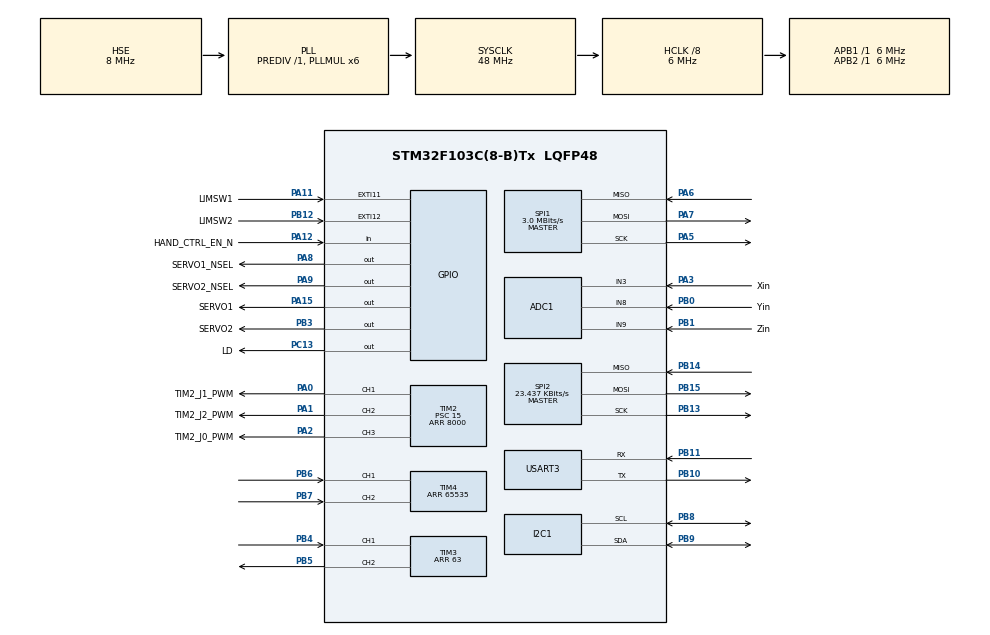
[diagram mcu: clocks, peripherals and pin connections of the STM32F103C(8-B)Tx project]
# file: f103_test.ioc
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Mcu.Family=STM32F1
NVIC.USART3_IRQn=true\:0\:0\:false\:false\:true\:true\:true
NVIC.ADC1_2_IRQn=true\:0\:0\:false\:false\:true\:true\:true
PA6.Mode=Full_Duplex_Master
Dma.ADC1.1.MemDataAlignment=DMA_MDATAALIGN_HALFWORD
NVIC.I2C1_EV_IRQn=true\:0\:0\:false\:false\:true\:true\:true
SPI1.VirtualType=VM_MASTER
SPI2.VirtualType=VM_MASTER
PB10.Mode=Asynchronous
ADC1.ContinuousConvMode=ENABLE
ADC1.SamplingTime-6\#ChannelRegularConversion=ADC_SAMPLETIME_239CYCLES_5
TIM4.EncoderMode=TIM_ENCODERMODE_TI12
TIM3.Slave_TriggerPolarity=TIM_TRIGGERPOLARITY_FALLING
PB0.GPIO_Label=Yin
PA11.GPIO_PuPd=GPIO_PULLUP
TIM2.Channel-PWM\ Generation2\ CH2=TIM_CHANNEL_2
PB11.Signal=USART3_RX
PB13.Signal=SPI2_SCK
PB15.Signal=SPI2_MOSI
RCC.SYSCLKSource=RCC_SYSCLKSOURCE_PLLCLK
ProjectManager.StackSize=0x400
PD1-OSC_OUT.Signal=RCC_OSC_OUT
PA15.GPIO_Label=SERVO1
PA12.Signal=GPIO_Input
ADC1.Channel-5\#ChannelRegularConversion=ADC_CHANNEL_8
SH.SharedAnalog_PA3.0=GPIO_Analog
Dma.ADC1.1.Instance=DMA1_Channel1
SPI1.Direction=SPI_DIRECTION_2LINES
RCC.HCLKFreq_Value=6000000
SH.SharedAnalog_PA3.1=ADC1_IN3,IN3
RCC.APB2TimFreq_Value=6000000
TIM3.Period=63
PB6.Signal=S_TIM4_CH1
Dma.ADC1.1.PeriphDataAlignment=DMA_PDATAALIGN_HALFWORD
SPI1.CalculateBaudRate=3.0 MBits/s
VP_TIM3_VS_ControllerModeClock.Mode=Clock Mode
RCC.AHBFreq_Value=6000000
SPI2.BaudRatePrescaler=SPI_BAUDRATEPRESCALER_256
NVIC.EXTI15_10_IRQn=true\:0\:0\:false\:false\:true\:true\:true
ADC1.Channel-0\#ChannelRegularConversion=ADC_CHANNEL_3
RCC.PLLMUL=RCC_PLL_MUL6
PB12.GPIO_Label=LIMSW2
ADC1.Channel-6\#ChannelRegularConversion=ADC_CHANNEL_9
PC14-OSC32_IN.Mode=LSE-External-Oscillator
PA14.Mode=Serial_Wire
PB14.Mode=Full_Duplex_Master
Dma.MEMTOMEM.0.Instance=DMA1_Channel2
PB1.GPIO_Label=Zin
NVIC.TIM2_IRQn=true\:0\:0\:false\:false\:true\:true\:true
Dma.ADC1.1.Priority=DMA_PRIORITY_LOW
SPI2.CalculateBaudRate=23.437 KBits/s
SH.S_TIM4_CH2.0=TIM4_CH2,Encoder_Interface
PB7.Signal=S_TIM4_CH2
Dma.ADC1.1.Mode=DMA_CIRCULAR
PA8.Signal=GPIO_Output
NVIC.SPI2_IRQn=true\:0\:0\:false\:false\:true\:true\:true
TIM2.Channel-PWM\ Generation1\ CH1=TIM_CHANNEL_1
SH.SharedAnalog_PB0.0=GPIO_Analog
SH.S_TIM3_CH1.0=TIM3_CH1,TriggerSource_TI1FP1
TIM4.Period=65535
NVIC.I2C1_ER_IRQn=true\:0\:0\:false\:false\:true\:true\:true
ADC1.SamplingTime-0\#ChannelRegularConversion=ADC_SAMPLETIME_239CYCLES_5
SH.SharedAnalog_PB0.1=ADC1_IN8,IN8
Mcu.Package=LQFP48
PB9.Signal=I2C1_SDA
TIM2.Prescaler=15
PB1.Signal=SharedAnalog_PB1
PA6.Signal=SPI1_MISO
SPI2.Mode=SPI_MODE_MASTER
Dma.ADC1.1.Direction=DMA_PERIPH_TO_MEMORY
Dma.MEMTOMEM.0.PeriphInc=DMA_PINC_ENABLE
PA2.GPIO_Label=TIM2_J0_PWM
Dma.ADC1.1.MemInc=DMA_MINC_ENABLE
PA15.Signal=GPIO_Output
TIM4.IC1Filter=8
SH.S_TIM4_CH1.0=TIM4_CH1,Encoder_Interface
Dma.Request1=ADC1
RCC.APB1TimFreq_Value=6000000
SPI2.Direction=SPI_DIRECTION_2LINES
PB13.Mode=Full_Duplex_Master
PA12.GPIO_PuPd=GPIO_PULLDOWN
ADC1.Rank-6\#ChannelRegularConversion=3
Dma.Request0=MEMTOMEM
PB4.Signal=S_TIM3_CH1
PA3.Signal=SharedAnalog_PA3
PA5.Mode=Full_Duplex_Master
PB3.GPIO_Label=SERVO2
RCC.PLLSourceVirtual=RCC_PLLSOURCE_HSE
PC15-OSC32_OUT.Mode=LSE-External-Oscillator
Dma.MEMTOMEM.0.MemDataAlignment=DMA_MDATAALIGN_BYTE
ADC1.Rank-0\#ChannelRegularConversion=1
PA7.Mode=Full_Duplex_Master
PD1-OSC_OUT.Mode=HSE-External-Oscillator
Dma.MEMTOMEM.0.Priority=DMA_PRIORITY_LOW
PA9.GPIO_Label=SERVO2_NSEL
ADC1.DiscontinuousConvMode=DISABLE
PC13-TAMPER-RTC.Signal=GPIO_Output
PA11.GPIO_Label=LIMSW1
TIM4.IC2Filter=8
PD0-OSC_IN.Signal=RCC_OSC_IN
PC14-OSC32_IN.Signal=RCC_OSC32_IN
PA12.GPIO_Label=HAND_CTRL_EN_N
PA0-WKUP.GPIO_Label=TIM2_J1_PWM
PA0-WKUP.Signal=S_TIM2_CH1_ETR
RCC.ADCPresc=RCC_ADCPCLK2_DIV8
PA13.Signal=SYS_JTMS-SWDIO
SH.S_TIM2_CH2.0=TIM2_CH2,PWM Generation2 CH2
PA8.GPIO_Label=SERVO1_NSEL
PB11.Mode=Asynchronous
NVIC.DMA1_Channel2_IRQn=true\:0\:0\:false\:false\:true\:true\:true
ProjectManager.TargetToolchain=SW4STM32
I2C1.I2C_Mode=I2C_Fast
PB9.Mode=I2C
PA9.Signal=GPIO_Output
RCC.USBFreq_Value=48000000
PC15-OSC32_OUT.Signal=RCC_OSC32_OUT
PA1.Signal=S_TIM2_CH2
PD0-OSC_IN.Mode=HSE-External-Oscillator
PB10.Signal=USART3_TX
TIM4.IC2Polarity=TIM_ICPOLARITY_FALLING
PB14.Signal=SPI2_MISO
PA5.Signal=SPI1_SCK
SH.S_TIM3_CH2.0=TIM3_CH2,PWM Generation2 CH2
SH.SharedAnalog_PB1.0=GPIO_Analog
SH.SharedAnalog_PB1.1=ADC1_IN9,IN9
board=custom
PC13-TAMPER-RTC.GPIO_Label=LD
PB15.Mode=Full_Duplex_Master
ADC1.EnableAnalogWatchDog=false
RCC.APB2Freq_Value=6000000
SH.S_TIM2_CH3.0=TIM2_CH3,PWM Generation3 CH3
SPI1.Mode=SPI_MODE_MASTER
PA1.GPIO_Label=TIM2_J2_PWM
TIM2.Channel-PWM\ Generation3\ CH3=TIM_CHANNEL_3
RCC.AHBCLKDivider=RCC_SYSCLK_DIV8
Dma.ADC1.1.PeriphInc=DMA_PINC_DISABLE
TIM2.Period=8000
ADC1.NbrOfConversion=3
PA13.Mode=Serial_Wire
Mcu.Name=STM32F103C(8-B)Tx
PA2.Signal=S_TIM2_CH3
Dma.MEMTOMEM.0.PeriphDataAlignment=DMA_PDATAALIGN_BYTE
PB3.Signal=GPIO_Output
RCC.SYSCLKFreq_VALUE=48000000
PB5.Signal=S_TIM3_CH2
ADC1.master=1
Dma.MEMTOMEM.0.Mode=DMA_NORMAL
Dma.MEMTOMEM.0.MemInc=DMA_MINC_ENABLE
USART3.VirtualMode=VM_ASYNC
PA11.Signal=GPXTI11
SH.S_TIM2_CH1_ETR.0=TIM2_CH1,PWM Generation1 CH1
PA14.Signal=SYS_JTCK-SWCLK
ProjectManager.HeapSize=0x200
ADC1.SamplingTime-5\#ChannelRegularConversion=ADC_SAMPLETIME_239CYCLES_5
NVIC.PriorityGroup=NVIC_PRIORITYGROUP_4
ADC1.NbrOfConversionFlag=1
TIM3.Channel-PWM\ Generation2\ CH2=TIM_CHANNEL_2
PB8.Mode=I2C
PB8.Signal=I2C1_SCL
Dma.MEMTOMEM.0.Direction=DMA_MEMORY_TO_MEMORY
SPI2.DataSize=SPI_DATASIZE_16BIT
NVIC.DMA1_Channel1_IRQn=true\:0\:0\:false\:false\:true\:true\:true
PB12.GPIO_PuPd=GPIO_PULLUP
PA11.GPIO_ModeDefaultEXTI=GPIO_MODE_IT_FALLING
RCC.APB1Freq_Value=6000000
PB0.Signal=SharedAnalog_PB0
ADC1.Rank-5\#ChannelRegularConversion=2
PB12.Signal=GPXTI12
PA3.GPIO_Label=Xin
PA7.Signal=SPI1_MOSI

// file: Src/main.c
/* USER CODE BEGIN Header */
/**
  ******************************************************************************
  * @file           : main.c
  * @brief          : Main program body
  ******************************************************************************
  * @attention
  *
  * <h2><center>&copy; Copyright (c) 2020 STMicroelectronics.
  * All rights reserved.</center></h2>
  *
  * This software component is licensed by ST under BSD 3-Clause license,
  * the "License"; You may not use this file except in compliance with the
  * License. You may obtain a copy of the License at:
  *                        opensource.org/licenses/BSD-3-Clause
  *
  ******************************************************************************
  */
/* USER CODE END Header */

#include "main.h"
#include "adc.h"
#include "dma.h"
#include "i2c.h"
#include "spi.h"
#include "tim.h"
#include "usart.h"
#include "gpio.h"

/* USER CODE BEGIN Includes */
#include "kin.h"
#include "stm32f1xx_it.h"
#include "traj.h"
#include "consts.h"
#include "math_util.h"
#include "as1130.h"
#include "as1130_pat.h"
#include "imath.h"
#include "hand_ctrl.h"
#include <math.h>
#include <string.h>

/* USER CODE END Includes */

/* USER CODE BEGIN PV */
volatile global_state_t __STATE = GLOBAL_RESET;

typedef struct hand_ctrl_cfg_s {
	int16_t rng[2];
	uint16_t lims[2];
	int8_t sgn;
} hand_ctrl_cfg_t;
volatile uint16_t hand_ctrl_buf[NUM_HAND_CTRL_BUF * NUM_HAND_CTRL_AX] = { 0 };
uint16_t hand_ctrl_buf_2[NUM_HAND_CTRL_BUF * NUM_HAND_CTRL_AX] = { 0 };
const hand_ctrl_cfg_t HAND_CTRL_RNGS[NUM_HAND_CTRL_AX] = {
//	{ .rng = { 800, 4600 }, .lims = { 1200, 4096 }, .sgn = 1 },
//	{ .rng = { 0, 3198 }, .lims = { 0, 1600 }, .sgn = -1 },
//	{ .rng = { -500, 4600 }, .lims = { 509, 3600 }, .sgn = 1 },
		{ .rng = { -1000, 5096 }, .lims = { 0, 4096 }, .sgn = 1 },
		{ .rng = { 0, 3198 }, .lims = { 0, 1600 }, .sgn = -1 },
		{ .rng = { -500, 5600 }, .lims = { 0, 4096 }, .sgn = 1 },
};
extern const int16_t HAND_CTRL_LUT[8][16][16][2][3];
// map the ADC via channel order to XYZ

//volatile uint8_t adc_ch = 0, adc_buf_idx = 0;
int16_t pos_dbl_buf[2][NUM_POS_ELE] = { 0 };
volatile int16_t pos[NUM_POS_ELE] = { 0 };
volatile uint8_t _buf_fresh = 0, _con_fresh = 0;
volatile uint16_t tick_fin_buf = 0, tick_fin = 0, tick_start_buf = 0, tick_cur = 1; // start with consumer hungry
int32_t A[4] = { 0, A1, A2, A3 };

extern volatile uint8_t mcp1130_ch;
extern volatile uint16_t mcp1130_mosi;
extern volatile uint16_t I_safety_buf, ERROR_safety_buf;

extern int32_t D_COEF[NUM_HW_D_COEF];
extern DMA_HandleTypeDef hdma_adc1;
extern UART_HandleTypeDef huart3;

const joint_phys_t JOINT_PHYS[3] = {
		{ T0_HW, SMAX_HW, I_HW },
		{ T0_HS, SMAX_HS, I_HS },
		{ T0_DS, SMAX_DS, I_DS },
};
const uint16_t MIDs[3] = { CCR_MID_HW, CCR_MID_HS, CCR_MID_DS };
const uint16_t RNGs[3] = { RNG_HW / 2, RNG_HS / 2, RNG_DS / 2 };
const uint16_t PER_RADS[3] = { CCR_PER_RAD_HW, CCR_PER_RAD_HS, CCR_PER_RAD_DS };
int32_t vf_prev[3] = { 0 }; // previous final velocity
int32_t t_prev[3] = { 0 }; // previous target angles (after inv kin)
const int8_t RHR_SGNS[3] = { SGN_HW, SGN_HS, SGN_DS };

// bitmaps
extern const uint8_t bump[NBUMP][NBUMP];
/* USER CODE END PV */

void SystemClock_Config(void);
/* USER CODE BEGIN PFP */
uint16_t pos_idx(void);
void mcp1130_txrx(void);
static void adc_rx();
/* USER CODE END PFP */

/* USER CODE BEGIN 0 */
int32_t hand_ctrl_norm[2][NUM_HAND_CTRL_AX] = { 0 };
int16_t j0_ccr_adjust = -RNG_HW / 2;

// TEMP
uint8_t px[2] = { 0 };
const uint8_t k[2] = { 0xFD, 0x40 };
uint8_t uart_buf_in[UART_BUF_SIZE] = { 0 };
volatile uint32_t uart_buf[UART_BUF_SIZE] = { 0 };
volatile int8_t uart_buf_fresh = 0;
int16_t hand_ctrl_dpack[4] = {0};

#define NUM_WAYPOINTS 2
int32_t waypoints[NUM_WAYPOINTS][NUM_JOINTS] = {
	{-241, 140, 0},
	{-241, -140, 0},
};
//int32_t waypoints[NUM_WAYPOINTS][NUM_JOINTS] = {
//	{ 322, 0, 121 },
//	{ 241, 0, 0 },
//	{ 322, 0, 121 },
//	{ -322, 0, -121 },
//	{ -241, 0, 0 },
//	{ -322, 0, -121 },
//	{ 0, -241, -80 },
//	{ 0, 241, 80 },
//	{ 0, -241, -80 },
//	{ 0, 241, 80 },
//	{ -241, -241, -80 },
//	{ 241, 0, 121 },
//	{ -241, 241, -80 },
//	{ -241, -241, -80 },
//	{ -121, 241, -40 },
//	{ 0, -241, 0 },
//	{ 121, 241, 40 },
//	{ 241, -241, 80 },
//	{ -120, 0, 0 },
//};
uint32_t waypoint_idx = 0;
/* USER CODE END 0 */

int main(void)
{

  /* MCU Configuration--------------------------------------------------------*/

  /* Reset of all peripherals, Initializes the Flash interface and the Systick. */
  HAL_Init();

  /* Configure the system clock */
  SystemClock_Config();

  /* Initialize all configured peripherals */
  MX_GPIO_Init();
  MX_DMA_Init();
  MX_I2C1_Init();
  MX_SPI2_Init();
  MX_TIM2_Init();
  MX_TIM3_Init();
  MX_TIM4_Init();
  MX_USART3_UART_Init();
  MX_SPI1_Init();
  MX_ADC1_Init();
  /* USER CODE BEGIN 2 */

//  while(HAL_GPIO_ReadPin(LIMSW1_GPIO_Port, LIMSW1_Pin)); // wait for bottom limit switch trigger

  HAL_TIM_Base_Start_IT(&htim2);
  HAL_TIM_Base_Start(&htim3);
  HAL_TIM_Base_Start(&htim4);

  AS1130_Init();

  htim2.Instance->CCER |= TIM_CCER_CC1E | TIM_CCER_CC2E | TIM_CCER_CC3E;
  htim3.Instance->CCER |= TIM_CCER_CC2E;

  // TODO softer startup routine by reading from servo pot ADC and slow-driving them to center
  // TEMP
  HAL_GPIO_WritePin(SERVO1_GPIO_Port, SERVO1_Pin, GPIO_PIN_SET);
  HAL_GPIO_WritePin(SERVO2_GPIO_Port, SERVO2_Pin, GPIO_PIN_SET);

  HAL_GPIO_WritePin(SERVO1_NSEL_GPIO_Port, SERVO1_NSEL_Pin, GPIO_PIN_SET);
  HAL_GPIO_WritePin(SERVO2_NSEL_GPIO_Port, SERVO2_NSEL_Pin, GPIO_PIN_RESET);

  uint16_t R0 = A[1] + A[2] + A[3];

  mcp1130_txrx();
  uart_rx();
  adc_rx();

  ////////////
  // HOMING //
  ////////////

  __STATE = GLOBAL_HOMING;
  for(; 0 && __STATE == GLOBAL_HOMING && HAL_GPIO_ReadPin(LIMSW1_GPIO_Port, LIMSW1_Pin); j0_ccr_adjust = max(MIN_HOMING_CCR, j0_ccr_adjust - HOMING_STRIDE)) {
	  __HAL_TIM_SET_COMPARE(&htim2, TIM_CHANNEL_3, MIDs[0] + j0_ccr_adjust);
	  HAL_Delay(HOMING_TICK);
  }
  __STATE = GLOBAL_RUN;

  /* USER CODE END 2 */

  /* Infinite loop */
  /* USER CODE BEGIN WHILE */
  int16_t pos_stash[POS_STRIDE] = { 0 };
  for(uint32_t iter = 0; ; iter++)
  {
    /* USER CODE END WHILE */

    /* USER CODE BEGIN 3 */

	  {
		  uint16_t tick = pos_idx();
//		  uint16_t loc[2] = {
//			(pos[tick * POS_STRIDE + 1 * NUM_POS_DERIV] * PER_RADS[1] / RNGs[1] / 2) + 127,
//			-(pos[tick * POS_STRIDE + 0 * NUM_POS_DERIV] * PER_RADS[0] / RNGs[0] / 2) + 127,
//		  };
		  uint16_t loc[2] = { 127, 224 };
		  uint8_t square[8 * 8]; // { 0x80, 0x80, 0x80, 0x80, 0x80, 0x80, 0x80, 0x80, 0x80, };
		  memset(&square, 0xFF, 8 * 8 * sizeof(square[0]));
		  uint16_t dims[2] = { 8, 8 }; // { NBUMP, NBUMP }; // { 3, 3 };
		  uint16_t scale[2] = {
			128, // + abs(pos[tick * POS_STRIDE + 0 * NUM_POS_DERIV] - pos[max(0, tick - 1) * POS_STRIDE + 0 * NUM_POS_DERIV]) * 512 * 6 / NBUMP,
			128, // + abs(pos[tick * POS_STRIDE + 1 * NUM_POS_DERIV] - pos[max(0, tick - 1) * POS_STRIDE + 1 * NUM_POS_DERIV]) * 512 * 6 / NBUMP
		  };
		  AS1130_blit(square, dims, loc, scale);
	  }
	  {
//		  uint16_t tick_ = HAL_GetTick();
//		  uint16_t dims[2] = { NBUMP, NBUMP }; // { 3, 3 };
//		  uint8_t square[NBUMP][NBUMP] = { 0 };
//		  for(int16_t i = 0; i < NBUMP; i++) {
//			  for(int16_t j = 0; j < NBUMP; j++) {
//				  square[i][j] = sin2_t((i - NBUMP / 2) * 8, (j - NBUMP / 2) * 8, tick_ / 16); // once every 4 seconds, period of 1/2 the size
//			  }
//		  }
//		  uint16_t scale[2] = { 256, 256 };
//		  AS1130_blit(square, dims, loc, scale);
	  }

	  {
//		  while(_buf_fresh) {
//			  // low-priority actions
//
//			  // total YZ moment of inertia calculation
//			  int32_t t_cur[3];
//			  fwd_kin(A, pos[NUM_POS], t_cur);
////			  I_YZ = isqrt(t_cur[1] * t_cur[1] + t_cur[2] * t_cur[2]) / 2 * M_TOT_256;
//		  };

		  int32_t max_tf = 0;
		  int32_t xyz[3] = { 0 }, xyzd[3] = { 0 }, t[3] = { 0 }, v[3] = { 0 }, tf[3] = { 0 }, tbnd[2] = { 0 }, tp[3] = { 0 };
		  float tp_[3];
		  uint8_t _converged = 0, _hand_ctrl_moved = 0;

		  ///////////////////////////////
		  // CONVERSIONS FOR HAND CTRL //
		  ///////////////////////////////

		  // calculate hand controller speeds
		  uint8_t hand_ctrl_i0;
		  {
			  size_t tf_size = NUM_HAND_CTRL_BUF * NUM_HAND_CTRL_AX * sizeof(hand_ctrl_buf[0]);
//			  __disable_irq();
			  // sensitive region copying buffer
			  // consider disabling interrupts
			  // although this should happen much faster than values change on the controller
			  // that's what's really important
			  hand_ctrl_i0 = hdma_adc1.Instance->CNDTR;
			  memcpy(hand_ctrl_buf_2, hand_ctrl_buf, tf_size);
//			  __enable_irq();
		  }

		  hand_ctrl_i0 /= NUM_HAND_CTRL_AX; // watch for round-down division
		  hand_ctrl_i0 = (NUM_HAND_CTRL_BUF - hand_ctrl_i0 + 2) % NUM_HAND_CTRL_BUF; // (NUM_HAND_CTRL_BUF - NUM_HW_D_COEF - 1)
		  int32_t hand_ctrl_d_buf[NUM_HW_D_COEF][NUM_HAND_CTRL_AX] = { 0 },
				  hand_ctrl_d[NUM_HAND_CTRL_AX] = { 0 }; // 256-units
		  {
			  uint16_t stride = NUM_HAND_CTRL_BUF / NUM_HW_D_COEF / HAND_CTRL_BUF_DS - 1, // -1 to ensure we always miss at least the one potentially incomplete sample currently being DMA'd
					  n_iter = stride * NUM_HW_D_COEF;
			  // downsample by `stride` via averaging
			  // plus hard downsampling by HAND_CTRL_BUF_DS
			  for(uint16_t i = 0; i < n_iter; i++) {
				  for(uint16_t k = 0; k < NUM_HAND_CTRL_AX; k++) {
					  hand_ctrl_d_buf[i / stride][k] +=
							  max(HAND_CTRL_RNGS[k].lims[0],
									  min(HAND_CTRL_RNGS[k].lims[1],
											  hand_ctrl_buf_2[((hand_ctrl_i0 + i * HAND_CTRL_BUF_DS) & (NUM_HAND_CTRL_BUF - 1)) * NUM_HAND_CTRL_AX + k]
									  )
							  );
				  }
			  }
			  for(uint16_t i = 0; i < NUM_HW_D_COEF; i++) {
				  for(uint16_t k = 0; k < NUM_HAND_CTRL_AX; k++) {
					  hand_ctrl_d_buf[i][k] /= stride;
				  }
			  }

			  // perform derivative
			  if(0) {
				  const uint16_t HALF_ADC_BITS = 9;
				  for(uint16_t i = 0; i < NUM_HW_D_COEF; i++) {
					  for(uint16_t k = 0; k < NUM_HAND_CTRL_AX; k++)
						  hand_ctrl_d[k] +=
								  ((hand_ctrl_d_buf[i][k] * D_COEF[i]) >> HALF_ADC_BITS) // cut down dynamic range a bit
								  * R0 / (stride * HAND_CTRL_BUF_DS) * ADC_FREQ / NUM_HAND_CTRL_AX
								  / ((HAND_CTRL_RNGS[k].rng[1] - HAND_CTRL_RNGS[k].rng[0] >> 1) >> HALF_ADC_BITS)
								  * HAND_CTRL_RNGS[k].sgn
								  >> _W; // convert to 256-m/s
				  }
			  }

			  // average previously subsampled values
			  memset(&hand_ctrl_norm[1][0], 0, NUM_HAND_CTRL_AX * sizeof(hand_ctrl_norm[1][0]));
			  for(uint16_t i = 0; i < NUM_HW_D_COEF; i++) {
				  for(uint16_t k = 0; k < NUM_HAND_CTRL_AX; k++)
					  hand_ctrl_norm[1][k] +=
							  ((hand_ctrl_d_buf[i][k] - ((HAND_CTRL_RNGS[k].rng[1] + HAND_CTRL_RNGS[k].rng[0]) >> 1)) << _W)
							  / (HAND_CTRL_RNGS[k].rng[1] - HAND_CTRL_RNGS[k].rng[0] >> 1)
							  * HAND_CTRL_RNGS[k].sgn;
			  }
			  for(uint16_t k = 0; k < NUM_HAND_CTRL_AX; k++) {
				  hand_ctrl_norm[1][k] /= NUM_HW_D_COEF; // convert to 256-norm (+/-1) centered around 0
			  }

			  for(uint8_t i = 0; i < NUM_HAND_CTRL_AX; i++) {
				  if(abs(hand_ctrl_norm[0][i] - hand_ctrl_norm[1][i]) > HAND_CTRL_DEADBAND) {
					  memcpy(&hand_ctrl_norm[0][0], &hand_ctrl_norm[1][0], NUM_HAND_CTRL_AX * sizeof(hand_ctrl_norm[1][0]));
					  _hand_ctrl_moved = 1;
					  // itrig functions domain 0->256 => 0->2pi, range -128->127 => -1->1
					  // controller 0 1 2 -> yaw radius pitch
					  int32_t c0 = icos(hand_ctrl_norm[0][2] >> 2), c1 = icos(hand_ctrl_norm[0][0] >> 2),
							  s0 = isin(hand_ctrl_norm[0][2] >> 2), s1 = isin(hand_ctrl_norm[0][0] >> 2);
					  int32_t R = (hand_ctrl_norm[0][1] * (HAND_R1 - HAND_R0) >> _W) + HAND_R0;
					  xyz[0] = (c0 * s1 >> (_W - 2)) * R >> _W;
					  xyz[1] = (c0 * c1 >> (_W - 2)) * R >> _W;
					  xyz[2] = (s0 << 1) * R >> _W;

					  int32_t *td = hand_ctrl_d;
					  xyzd[0] = (((-s0 * s1 * td[2] + c0 * c1 * td[0]) >> (_TW - 2)) * R + xyz[0] * td[1]) >> _W; // dx/dt
					  xyzd[1] = (-((s0 * c1 * td[2] + c0 * s1 * td[0]) >> (_TW - 2)) * R + xyz[1] * td[1]) >> _W; // dy/dt
					  xyzd[2] = ((c0 * td[2] >> (_W - 1)) * R + xyz[2] * td[1]) >> _W; // dz/dt

					  break;
				  }
			  }
		  }

		  /////////////////////////////////////////////////////
		  // SOLVING TARGET POSITION & SPEED VIA INVERSE KIN //
		  /////////////////////////////////////////////////////
		  memset(uart_buf, 0, UART_BUF_SIZE * sizeof(uart_buf[0]));
		  int16_t tick_fin_stash, tick_cur_stash;
		  {
			  __disable_irq();
			  _con_fresh = 0;
			  tick_fin_stash = tick_fin;
			  tick_cur_stash = tick_cur;
			  uint16_t tick = pos_idx();
			  memcpy(pos_stash, &pos[tick * POS_STRIDE], POS_STRIDE * sizeof(pos[0]));
			  __enable_irq();
		  }
		  if(0 && HAL_GPIO_ReadPin(HAND_CTRL_EN_N_GPIO_Port, HAND_CTRL_EN_N_Pin)) {
			  if(_hand_ctrl_moved) { // (!inv_kin(A, Ts_[Ts_idx & (NUM_CART_POS - 1)], t, t_prev[0]) && !inv_jacob(A, t, &Ts_[Ts_idx & (NUM_CART_POS - 1)][3], tp_)) { // uart_buf, uart_buf[3]
				  uint32_t dist_wgts[3] = { 2, 1, 1 };
				  {
					  // az, el, rad
					  int32_t sph[3] = { -hand_ctrl_norm[0][0], hand_ctrl_norm[0][2], hand_ctrl_norm[0][1] };
					  int32_t sphd[3] = { hand_ctrl_d[0], hand_ctrl_d[2], hand_ctrl_d[1] };
					  uart_buf[0] = sph[0];uart_buf[1] = sph[1];uart_buf[2] = sph[2];
					  uint8_t lut_xyz[3] = { abs(sph[0]) >> (_W - 3), (sph[1] + (1 << _W)) >> ((_W + 1) - 4), sph[2] >> (_W - 4) };
					  uint32_t min_dist = 0xFFFFFFFF;
					  for(uint8_t i = 0; i < 2; i++) {
						  int16_t *t_ = &HAND_CTRL_LUT[lut_xyz[0]][lut_xyz[1]][lut_xyz[2]][i][0];
						  if(t_[0] != HAND_CTRL_LUT_NONE) {
							  uint32_t dist = 0;
							  for(uint8_t j = 0; j < 3; j++) {
								  dist += dist_wgts[j] * abs(t_[j] - pos_stash[j]);
							  }
							  if(dist < min_dist) {
								  for(uint8_t j = 0; j < 3; j++) {
									  t[j] = t_[j];
								  }
								  t[1] *= sgn(sph[0]);
								  min_dist = dist;
								  _converged = 1;
							  }
						  }
					  }
				  }
				  if(!_converged) {
					  uart_buf[9] = 1;
				  }
			  }
		  }
		  else {
//			  HAL_Delay(rand() >> 21);
//			  for(uint8_t i = 0; i < NUM_JOINTS; i++) {
//				  t_[i] = (((rand() - (RAND_MAX >> 1)) >> (31 - _W)) * I_PI) >> _W; // rand_lpf((int32_t)pos_stash[i*NUM_POS_DERIV] << (15 - _W)) >> (15 - _W); // push up to 15-bit to match rand()
//				  uart_buf[i] = t_[i];
//			  }
//			  t = &t_[0];
//			  _converged = 1;
//			  HAL_UART_Transmit_IT(&huart3, &uart_buf[0], 3 * sizeof(uart_buf[0]));

			  if(tick_cur >= tick_fin && !_buf_fresh) {
				  memcpy(t, &waypoints[(waypoint_idx++) % NUM_WAYPOINTS], 3 * sizeof(waypoints[0][0]));
//				  t = &waypoints[(waypoint_idx++) % NUM_WAYPOINTS][0];
				  _converged = 1;
			  }
		  }

		  for(uint8_t i = 0; i < 3 && _converged; i++) {
			  uint8_t j = 0;
			  for(
					  int32_t va_ = pos_stash[i * NUM_POS_DERIV + 1], //  * (int32_t)tick_fin_buf / TIM2_FREQ
					  	  	  vb_ = tp[i]
							   ; j < TRAJ_ITER_LIM
							   ; va_ /= 2, vb_ /= 2, j++
			  ) {
				  if(!traj_t(pos_stash[i * NUM_POS_DERIV], t[i], va_, vb_, tbnd, &JOINT_PHYS[i]) && tbnd[1] > 0) {
					  tf[i] = (1 << _TW) / tbnd[1];
					  v[i] = vb_;
					  for(uint8_t i = 0; i < 3; i++) {
						  if(tf[i] > max_tf)
							  max_tf = tf[i];
					  }
					  break;
				  }
			  }
			  if(j == TRAJ_ITER_LIM) {
//				  _converged = 0;
				  max_tf = MAX_TF_LIM;
				  uart_buf[9] = 2;
				  break;
			  }
		  }

		  /////////////
		  // LERPING //
		  /////////////

		  if(_converged) {
			  tick_fin_buf = (max_tf * TIM2_FREQ * SPEEDUP_FACTOR_D / SPEEDUP_FACTOR_N) >> _W; // WATCH: TIM3_FREQ is base units
			  tick_fin_buf = max(1, tick_fin_buf);
			  //				  memcpy(uart_buf, t, 3 * sizeof(t[0]));
			  //				  uart_buf[3] = (hand_ctrl_norm[0][1] << 16) | (hand_ctrl_norm[0][0] & 0xFFFF);
			  //				  uart_buf[4] = (max_tf << 16) | (hand_ctrl_norm[0][2] & 0xFFFF);
			  //			  memcpy(&uart_buf[3], hand_ctrl_norm, 3 * sizeof(hand_ctrl_norm[0]));
			  //			  HAL_UART_Transmit_IT(&huart3, uart_buf, 4 * 5); // sizeof(uart_buf[0]));

//			  int16_t stash[] = { -191, 363, 570, -878, 342, -218, -49, 65, 270, 0, 36, 51 };

			  for(uint8_t i = 0; i < NUM_POS; i++) {
				  for(uint8_t j = 0; j < 3; j++) {
					   lerp(pos_stash[j * NUM_POS_DERIV], t[j], pos_stash[j * NUM_POS_DERIV + 1], v[j], max_tf, (i * max_tf) / (NUM_POS - 1), &pos_dbl_buf[0][i * POS_STRIDE + j * NUM_POS_DERIV]); // WATCH: NUM_POS and PER_RADS is natural units
//					  lerp(stash[j * 2], stash[j + 6], stash[j * 2 + 1], 0, stash[11], (i * stash[11]) / (NUM_POS - 1), &pos_dbl_buf[0][i * POS_STRIDE + j * NUM_POS_DERIV]);
					  // interestingly, the integer arithmetic introduces rounding-like errors, not only floor-like errors (e.g. skips up to 2)
				  }
			  }
			  //		  for(uint8_t i = 0
			  //		    ; i < 32 && HAL_DMA_Start(&hdma_memtomem_dma1_channel1, &pos_dbl_buf[0][0], &pos_dbl_buf[1][0], NUM_POS_ELE) != HAL_OK
			  //		    ; i++) {}
			  _buf_fresh = 0;
			  while(hdma_memtomem_dma1_channel2.Instance->CNDTR); // wait for DMA to finish transferring buffer
			  uint16_t next_tick_start;
			  if(_con_fresh) {
				  // i.e. it took a fresh buffer in the time it took to calculate the next result
				  // by smoothness and speed, the linear approximation says we're okay to jump by the number of ticks elapsed
				  next_tick_start = tick_cur - tick_start_buf;
			  }
			  else {
				  next_tick_start = tick_cur - tick_cur_stash;
			  }
			  if(next_tick_start < tick_fin_buf) {
//				  uart_buf[0] =
//				  HAL_UART_Transmit_IT(&huart3, uart_buf, 6 * sizeof(uart_buf[0])); // UART_BUF_SIZE *
				  // possible that the timer might have taken the recent buffer and outstripped the brand new one we made
				  // in that case, trash this conversion
				  memcpy(&pos_dbl_buf[1][0], &pos_dbl_buf[0][0], sizeof(pos_dbl_buf[0][0]) * NUM_POS_ELE);
				  tick_start_buf = next_tick_start;
				  _buf_fresh = 1;
			  }
			  _con_fresh = 0;

		  }

		  if(_hand_ctrl_moved) {
			  for(uint8_t i = 0; i < 3; i++) {
				  uart_buf[i * 2] = pos_stash[i * 2];
				  uart_buf[i * 2 + 1] = pos_stash[i * 2 + 1];
				  uart_buf[6 + i] = t[i];
			  }
			  uart_buf[10] = tick_fin;
			  uart_buf[11] = tick_fin_buf;
//			  uart_buf[3] = pos_stash[0]; uart_buf[4] = pos_stash[2]; uart_buf[5] = pos_stash[4];
			  HAL_UART_Transmit_IT(&huart3, uart_buf, UART_BUF_SIZE * sizeof(uart_buf[0]));
		  }
	  }
  }
  /* USER CODE END 3 */
}

void SystemClock_Config(void)
{
  RCC_OscInitTypeDef RCC_OscInitStruct = {0};
  RCC_ClkInitTypeDef RCC_ClkInitStruct = {0};
  RCC_PeriphCLKInitTypeDef PeriphClkInit = {0};

  /** Initializes the CPU, AHB and APB busses clocks
  */
  RCC_OscInitStruct.OscillatorType = RCC_OSCILLATORTYPE_HSE;
  RCC_OscInitStruct.HSEState = RCC_HSE_ON;
  RCC_OscInitStruct.HSEPredivValue = RCC_HSE_PREDIV_DIV1;
  RCC_OscInitStruct.HSIState = RCC_HSI_ON;
  RCC_OscInitStruct.PLL.PLLState = RCC_PLL_ON;
  RCC_OscInitStruct.PLL.PLLSource = RCC_PLLSOURCE_HSE;
  RCC_OscInitStruct.PLL.PLLMUL = RCC_PLL_MUL6;
  if (HAL_RCC_OscConfig(&RCC_OscInitStruct) != HAL_OK)
  {
    Error_Handler();
  }
  /** Initializes the CPU, AHB and APB busses clocks
  */
  RCC_ClkInitStruct.ClockType = RCC_CLOCKTYPE_HCLK|RCC_CLOCKTYPE_SYSCLK
                              |RCC_CLOCKTYPE_PCLK1|RCC_CLOCKTYPE_PCLK2;
  RCC_ClkInitStruct.SYSCLKSource = RCC_SYSCLKSOURCE_PLLCLK;
  RCC_ClkInitStruct.AHBCLKDivider = RCC_SYSCLK_DIV8;
  RCC_ClkInitStruct.APB1CLKDivider = RCC_HCLK_DIV1;
  RCC_ClkInitStruct.APB2CLKDivider = RCC_HCLK_DIV1;

  if (HAL_RCC_ClockConfig(&RCC_ClkInitStruct, FLASH_LATENCY_1) != HAL_OK)
  {
    Error_Handler();
  }
  PeriphClkInit.PeriphClockSelection = RCC_PERIPHCLK_ADC;
  PeriphClkInit.AdcClockSelection = RCC_ADCPCLK2_DIV8;
  if (HAL_RCCEx_PeriphCLKConfig(&PeriphClkInit) != HAL_OK)
  {
    Error_Handler();
  }
}

/* USER CODE BEGIN 4 */
void mcp1130_txrx() {
	HAL_GPIO_WritePin(SERVO2_NSEL_GPIO_Port, SERVO2_NSEL_Pin, GPIO_PIN_SET);
	asm("nop;nop;nop;nop;nop;nop;nop;nop;nop;nop;nop;nop;nop;nop;nop;nop;"); // try to guarantee at least 330ns of hold time
	HAL_GPIO_WritePin(SERVO2_NSEL_GPIO_Port, SERVO2_NSEL_Pin, GPIO_PIN_RESET);
	asm("nop;nop;nop;nop;nop;"); // try to guarantee at least 100/0.96 ns of hold time
	mcp1130_mosi = MCP3002_CONFIG | (mcp1130_ch << MCP3002_ODD_SIGN_Pos);
	volatile uint16_t *rx = mcp1130_ch ? &ERROR_safety_buf : &I_safety_buf;
	HAL_SPI_TransmitReceive_IT(&hspi2, &mcp1130_mosi, rx, 1);
}
void adc_rx(void) {
	HAL_ADC_Start_DMA(&hadc1, hand_ctrl_buf, NUM_HAND_CTRL_BUF * NUM_HAND_CTRL_AX);
}
uint16_t pos_idx(void) {
	return min(NUM_POS - 1, (tick_cur * (NUM_POS - 1)) / tick_fin);
}
/* USER CODE END 4 */

void Error_Handler(void)
{
  /* USER CODE BEGIN Error_Handler_Debug */
  /* User can add his own implementation to report the HAL error return state */
	while(1);
  /* USER CODE END Error_Handler_Debug */
}

/************************ (C) COPYRIGHT STMicroelectronics *****END OF FILE****/
